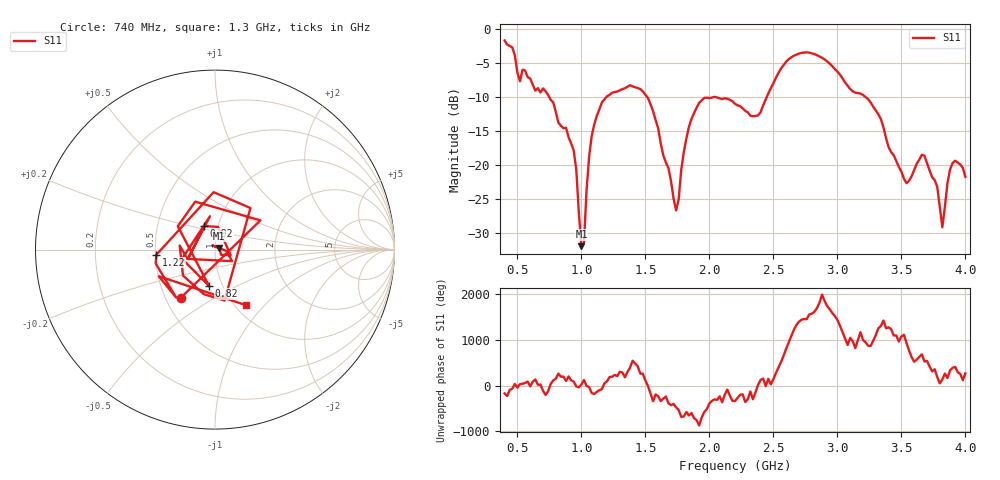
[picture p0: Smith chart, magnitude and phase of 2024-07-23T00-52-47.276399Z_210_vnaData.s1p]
!Created with skrf (http://scikit-rf.org).
# Hz S RI R 50.0
!freq ReS11 ImS11
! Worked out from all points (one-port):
!   181 points, 400 MHz to 4 GHz, reference 50 ohm
!   lowest |S11| = -31.9 dB at 1 GHz (marker M1), VSWR 1.05, Z = 52.4 + j1.02 ohm
!   |S11| at or under -10 dB: 748.1 MHz to 1.195 GHz (447.2 MHz wide, 46 % of centre); 1.514 GHz to 2.036 GHz (522.8 MHz wide, 29.5 % of centre); 3.22 GHz to end of sweep (the widest 3 of 4)
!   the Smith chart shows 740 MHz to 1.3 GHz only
!   S11 on the Smith chart (normalised r, x): 740 MHz: 0.60, -0.36; 820 MHz: 0.86, -0.37; 920 MHz: 0.86, +0.23; 1.22 GHz: 0.51, -0.03; 1.3 GHz: 1.12, -0.79
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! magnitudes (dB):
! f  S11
! 400 MHz  -1.7
! 520 MHz  -7.7
! 740 MHz  -9.7
! 820 MHz  -13.8
! 860 MHz  -14.6
! 920 MHz  -16.8
! 960 MHz  -20.7
! 1 GHz  -31.9
! 1.02 GHz  -31.4
! 1.08 GHz  -15.8
! 1.22 GHz  -9.7
! 1.3 GHz  -9.0
! 1.52 GHz  -10.2
! 1.74 GHz  -26.7
! 1.76 GHz  -25.0
! 1.82 GHz  -16.1
! 1.92 GHz  -10.9
! 2.2 GHz  -11.0
! 2.38 GHz  -12.7
! 2.66 GHz  -3.9
! 3.1 GHz  -8.8
! 3.32 GHz  -12.5
! 3.56 GHz  -22.3
! 3.68 GHz  -18.6
! 3.78 GHz  -23.2
! 3.82 GHz  -29.1
! 3.9 GHz  -19.7
! 4 GHz  -21.7
